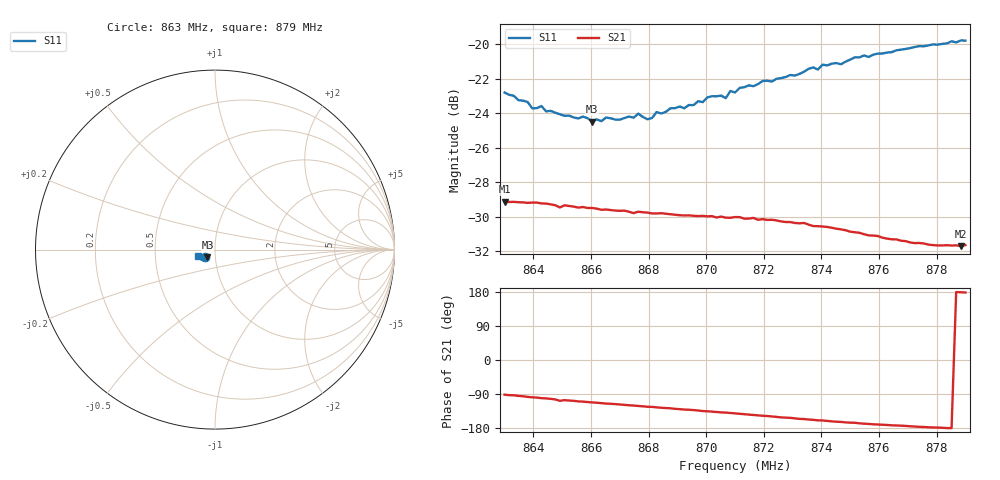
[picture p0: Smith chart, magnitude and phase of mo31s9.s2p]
# HZ S RI R 50
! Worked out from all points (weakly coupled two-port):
!   101 points, 863 MHz to 879 MHz, reference 50 ohm
!   highest |S21| = -29.12 dB at 863 MHz (marker M1); lowest = -31.7 dB at 878.84 MHz (marker M2)
!   lowest |S11| = -24.5 dB at 866.04 MHz (marker M3), VSWR 1.13, Z = 45.8 - j3.92 ohm
!   |S11| at or under -10 dB: start of sweep to end of sweep
!   S12 and S22 are empty: the file has one direction only
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8.63e8  -0.0576 -0.044  -0.000964 -0.035  0 0  0 0
8.638e8  -0.053 -0.0426  -0.00443 -0.0344  0 0  0 0
8.6396e8  -0.0504 -0.0414  -0.00513 -0.0344  0 0  0 0
8.6428e8  -0.0495 -0.0439  -0.00645 -0.034  0 0  0 0
8.6444e8  -0.0488 -0.0412  -0.00678 -0.0339  0 0  0 0
8.6572e8  -0.0438 -0.0435  -0.0115 -0.0318  0 0  0 0
8.6604e8  -0.0418 -0.0426  -0.0125 -0.0311  0 0  0 0
8.6748e8  -0.0389 -0.0473  -0.0163 -0.028  0 0  0 0
8.6764e8  -0.0411 -0.0477  -0.017 -0.028  0 0  0 0
8.6796e8  -0.0384 -0.0469  -0.0179 -0.0272  0 0  0 0
8.6828e8  -0.0384 -0.0507  -0.0186 -0.0265  0 0  0 0
8.6844e8  -0.0384 -0.0499  -0.0191 -0.0262  0 0  0 0
8.7068e8  -0.042 -0.0557  -0.0237 -0.0208  0 0  0 0
8.71e8  -0.0444 -0.0572  -0.0245 -0.0199  0 0  0 0
8.7116e8  -0.0464 -0.0585  -0.0249 -0.0194  0 0  0 0
8.7308e8  -0.0547 -0.0599  -0.0273 -0.0134  0 0  0 0
8.7372e8  -0.0597 -0.0614  -0.0276 -0.0112  0 0  0 0
8.7388e8  -0.0595 -0.0598  -0.0278 -0.0106  0 0  0 0
8.7404e8  -0.0631 -0.0602  -0.0278 -0.0103  0 0  0 0
8.7644e8  -0.0791 -0.0522  -0.027 -0.00361  0 0  0 0
8.7884e8  -0.0955 -0.0372  -0.026 0.000576  0 0  0 0
8.79e8  -0.0959 -0.0359  -0.0262 0.00092  0 0  0 0
